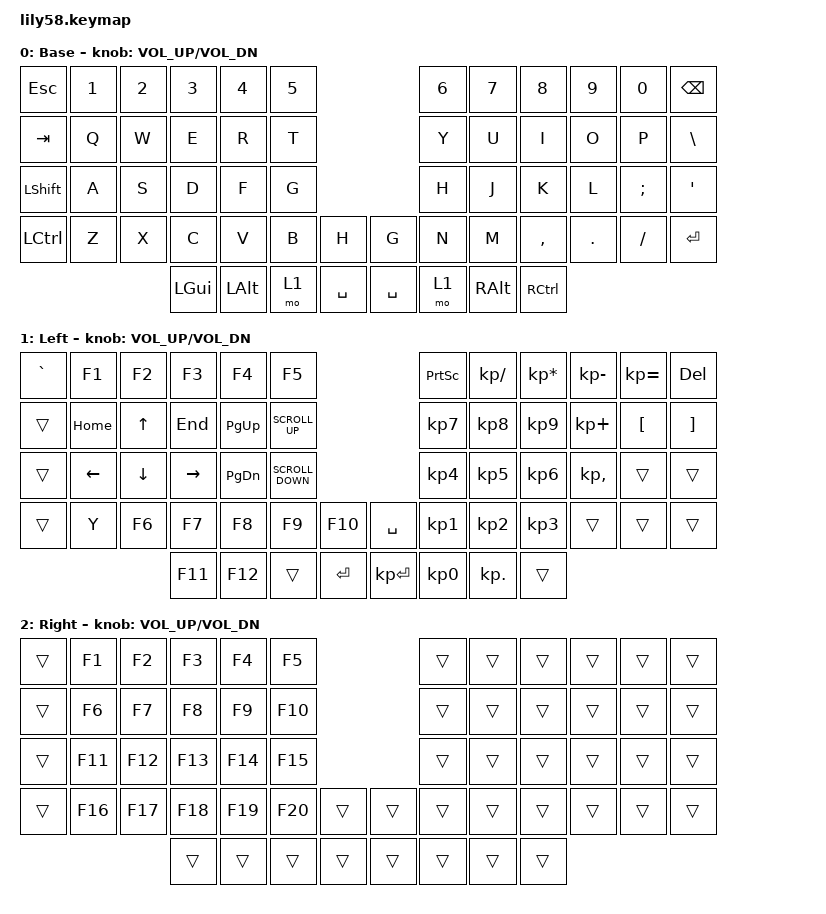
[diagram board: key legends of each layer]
/*
 * Copyright (c) 2020 The ZMK Contributors
 *
 * SPDX-License-Identifier: MIT
 */

#include <behaviors.dtsi>
#include <dt-bindings/zmk/bt.h>
#include <dt-bindings/zmk/keys.h>

/ {
    combos {
        compatible = "zmk,combos";

        BT_0 {
            bindings = <&bt BT_SEL 0>;
            key-positions = <1 52 36>;
        };

        BT_1 {
            bindings = <&bt BT_SEL 1>;
            key-positions = <2 52 36>;
            require-prior-idle-ms = <0.5>;
            timeout-ms = <0>;
        };

        BT_2 {
            bindings = <&bt BT_SEL 2>;
            key-positions = <3 52 36>;
            require-prior-idle-ms = <0.5>;
        };

        BT_3 {
            bindings = <&bt BT_SEL 3>;
            key-positions = <4 52 36>;
            require-prior-idle-ms = <0.5>;
        };

        BT_4 {
            bindings = <&bt BT_SEL 4>;
            key-positions = <52 5 36>;
            require-prior-idle-ms = <0.5>;
        };

        BT_Clr {
            bindings = <&bt BT_CLR>;
            key-positions = <52 11 36>;
            require-prior-idle-ms = <0.5>;
        };
    };

    keymap {
        compatible = "zmk,keymap";

        default_layer {
            // ------------------------------------------------------------------------------------------------------------
            // |  ESC  |  1  |  2  |  3   |  4   |  5   |                   |  6   |  7    |  8    |  9   |   0   |   `   |
            // |  TAB  |  Q  |  W  |  E   |  R   |  T   |                   |  Y   |  U    |  I    |  O   |   P   |   -   |
            // |  CTRL |  A  |  S  |  D   |  F   |  G   |                   |  H   |  J    |  K    |  L   |   ;   |   '   |
            // | SHIFT |  Z  |  X  |  C   |  V   |  B   |   "["  |  |  "]"  |  N   |  M    |  ,    |  .   |   /   | SHIFT |
            //                     | ALT  | GUI  | LOWER|  SPACE |  | ENTER | RAISE| BSPC  | GUI   |

            display-name = "Base";
            bindings = <
&kp ESCAPE        &kp N1  &kp N2  &kp N3        &kp N4        &kp N5                          &kp N6  &kp N7         &kp N8     &kp N9   &kp N0    &kp BACKSPACE
&kp TAB           &kp Q   &kp W   &kp E         &kp R         &kp T                           &kp Y   &kp U          &kp I      &kp O    &kp P     &kp BACKSLASH
&kp LEFT_SHIFT    &kp A   &kp S   &kp D         &kp F         &kp G                           &kp H   &kp J          &kp K      &kp L    &kp SEMI  &kp SQT
&kp LEFT_CONTROL  &kp Z   &kp X   &kp C         &kp V         &kp B   &kp H        &kp G      &kp N   &kp M          &kp COMMA  &kp DOT  &kp FSLH  &kp ENTER
                                  &kp LEFT_GUI  &kp LEFT_ALT  &mo 1   &kp SPACE    &kp SPACE  &mo 1   &kp RIGHT_ALT  &kp RCTRL
            >;

            sensor-bindings = <&inc_dec_kp C_VOL_UP C_VOL_DN>;
        };

        num {
            // ------------------------------------------------------------------------------------------------------------
            // |       |     |     |      |      |      |                   |      |       |       |      |       |       |
            // |   `   |  1  |  2  |  3   |  4   |  5   |                   |  6   |   7   |   8   |  9   |   0   |       |
            // |   F1  |  F2 |  F3 |  F4  |  F5  |  F6  |                   |      |   <-  |   v   |  ^   |  ->   |       |
            // |   F7  |  F8 |  F9 |  F10 |  F11 |  F12 |        |  |       |  +   |   -   |   =   |  [   |   ]   |   \   |
            //                     |      |      |      |        |  |       |      |       |       |

            display-name = "Left";
            bindings = <
&kp GRAVE  &kp F1    &kp F2    &kp F3     &kp F4     &kp F5                                      &kp PSCRN        &kp KP_SLASH     &kp KP_ASTERISK  &kp KP_MINUS  &kp KP_EQUAL      &kp DEL
&trans     &kp HOME  &kp UP    &kp END    &kp PG_UP  &kp K_SCROLL_UP                             &kp KP_NUMBER_7  &kp KP_NUMBER_8  &kp KP_NUMBER_9  &kp KP_PLUS   &kp LEFT_BRACKET  &kp RIGHT_BRACKET
&trans     &kp LEFT  &kp DOWN  &kp RIGHT  &kp PG_DN  &kp K_SCROLL_DOWN                           &kp KP_NUMBER_4  &kp KP_NUMBER_5  &kp KP_NUMBER_6  &kp KP_COMMA  &trans            &trans
&trans     &kp Y     &kp F6    &kp F7     &kp F8     &kp F9             &kp F10    &kp SPACE     &kp KP_NUMBER_1  &kp KP_NUMBER_2  &kp KP_NUMBER_3  &trans        &trans            &trans
                               &kp F11    &kp F12    &trans             &kp RET    &kp KP_ENTER  &kp KP_NUMBER_0  &kp KP_DOT       &trans
            >;

            sensor-bindings = <&inc_dec_kp C_VOL_UP C_VOL_DN>;
        };

        func {
            // ------------------------------------------------------------------------------------------------------------
            // | BTCLR | BT1 | BT2 |  BT3 |  BT4 |  BT5 |                   |      |       |       |      |       |       |
            // |  F1   |  F2 |  F3 |  F4  |  F5  |  F6  |                   |  F7  |  F8   |  F9   |  F10 |  F11  |  F12  |
            // |   `   |  !  |  @  |  #   |  $   |  %   |                   |  ^   |  &    |  *    |  (   |   )   |   ~   |
            // |       |     |     |      |      |      |        |  |       |      |  _    |  +    |  {   |   }   |  "|"  |
            //                     |      |      |      |        |  |       |      |       |       |

            display-name = "Right";
            bindings = <
&trans  &kp F1   &kp F2   &kp F3   &kp F4   &kp F5                     &trans  &trans  &trans  &trans  &trans  &trans
&trans  &kp F6   &kp F7   &kp F8   &kp F9   &kp F10                    &trans  &trans  &trans  &trans  &trans  &trans
&trans  &kp F11  &kp F12  &kp F13  &kp F14  &kp F15                    &trans  &trans  &trans  &trans  &trans  &trans
&trans  &kp F16  &kp F17  &kp F18  &kp F19  &kp F20  &trans    &trans  &trans  &trans  &trans  &trans  &trans  &trans
                          &trans   &trans   &trans   &trans    &trans  &trans  &trans  &trans
            >;

            sensor-bindings = <&inc_dec_kp C_VOL_UP C_VOL_DN>;
        };
    };
};
